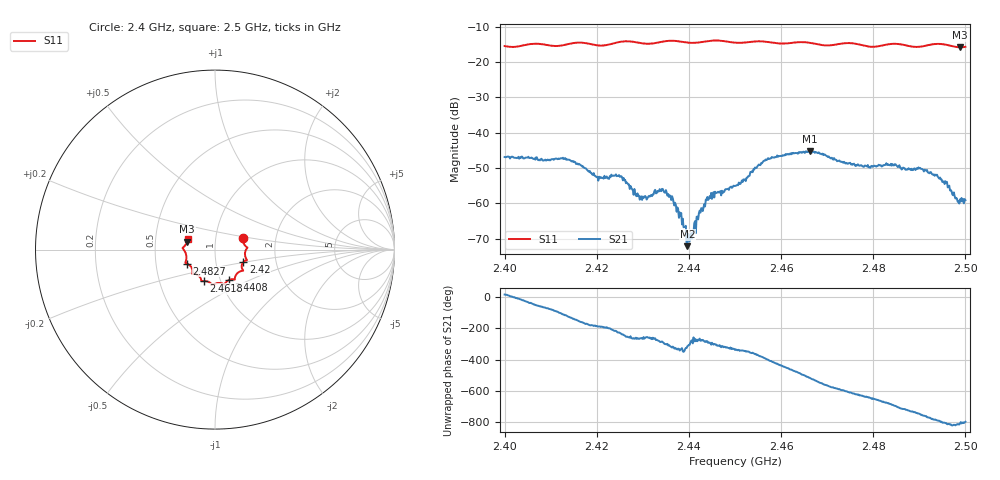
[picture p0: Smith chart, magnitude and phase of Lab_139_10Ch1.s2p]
# Hz S RI R 50
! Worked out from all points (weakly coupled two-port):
!   601 points, 2.4 GHz to 2.5 GHz, reference 50 ohm
!   highest |S21| = -45.21 dB at 2.4663 GHz (marker M1); lowest = -72.2 dB at 2.4397 GHz (marker M2)
!   lowest |S11| = -15.8 dB at 2.4988 GHz (marker M3), VSWR 1.39, Z = 36.4 + j3.34 ohm
!   |S11| at or under -10 dB: start of sweep to end of sweep
!   S12 and S22 are empty: the file has one direction only
!   S11 on the Smith chart (normalised r, x): 2.4 GHz: 1.36, +0.17; 2.42 GHz: 1.36, -0.19; 2.4408 GHz: 1.10, -0.39; 2.4618 GHz: 0.84, -0.30; 2.4827 GHz: 0.72, -0.12; 2.5 GHz: 0.73, +0.09
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2.4e9  0.1562 0.062  0.00429 0.0014  0 0  0 0
2.412667e9  0.1685 -0.0376  -0.00143 -0.00418  0 0  0 0
2.416667e9  0.1781 -0.0595  -0.0032 -0.00123  0 0  0 0
2.42e9  0.1578 -0.0692  -0.00236 0.000184  0 0  0 0
2.425e9  0.1552 -0.1139  -0.00157 0.00177  0 0  0 0
2.429667e9  0.1384 -0.1222  -0.000183 0.00124  0 0  0 0
2.433333e9  0.112 -0.152  0.000224 0.00144  0 0  0 0
2.4365e9  0.11 -0.1666  0.000857 0.000803  0 0  0 0
2.439667e9  0.0907 -0.1649  0.000173 0.000176  0 0  0 0
2.440833e9  0.0789 -0.1689  0.000169 0.000345  0 0  0 0
2.444333e9  0.0549 -0.191  0.000421 0.00108  0 0  0 0
2.45e9  0.0278 -0.1859  0.00163 0.000653  0 0  0 0
2.456667e9  -0.0171 -0.1932  0.00343 -0.00237  0 0  0 0
2.461833e9  -0.0602 -0.175  -0.00104 -0.00482  0 0  0 0
2.466333e9  -0.0764 -0.1705  -0.00516 -0.00185  0 0  0 0
2.466667e9  -0.0769 -0.1685  -0.00504 -0.00128  0 0  0 0
2.4765e9  -0.1258 -0.128  -0.000302 0.00342  0 0  0 0
2.482667e9  -0.1572 -0.0776  0.00259 0.00236  0 0  0 0
2.483333e9  -0.1612 -0.0762  0.00269 0.0022  0 0  0 0
2.4935e9  -0.1798 0.0066  0.00102 -0.00232  0 0  0 0
2.498833e9  -0.1552 0.0446  -2.79e-05 -0.00114  0 0  0 0
2.5e9  -0.1519 0.0616  0.000179 -0.00109  0 0  0 0
